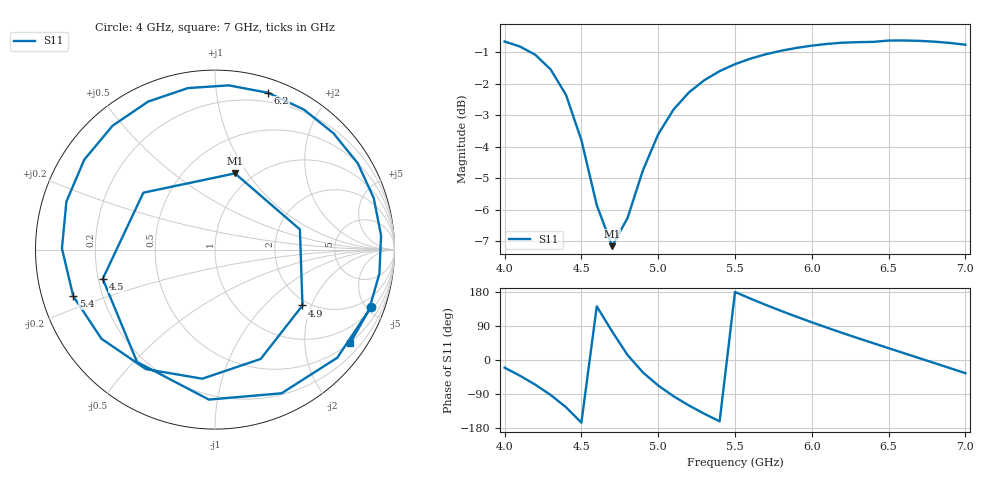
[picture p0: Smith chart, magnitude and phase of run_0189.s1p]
! Touchstone file exported from HFSS 2024.2.0
!  File:  C:/Users/wsak9/Desktop/Sim Fast/Widenad Patch/WP_AI_V1_sweep.aedt
!  Generated:  10:49:48 PM Oct 13, 2026
!  Design:  A1_model
!  Project:  WP_AI_V1_sweep
!  Setup:  Setup1
!  Solution:  Sweep
! Variables:
!  Air_gap = 3.75mm
!  Curve_Amp1 = 1.24
!  Curve_len1 = 1
!  Curve_pos = 12.245mm
!  Extra = 3.27mm
!  H_sub = 0.79mm
!  L_Patch = 20.49mm
!  L_Patch1 = 11.95mm
!  Sx = 2.06mm
!  Sy = 4.48mm
!  WS = 1.28mm
!  W_Patch = 22.26mm
!  W_Patch1 = 8.68mm
!Data is not renormalized
# GHz S MA
! Terminal data exported
! Port[1] = 1
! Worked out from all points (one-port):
!   31 points, 4 GHz to 7 GHz, reference per port
!   lowest |S11| = -7.2 dB at 4.7 GHz (marker M1), VSWR 2.56
!   |S11| at or under -10 dB: nowhere
!   S11 on the Smith chart (normalised r, x): 4 GHz: 1.18, -5.34; 4.5 GHz: 0.22, -0.12; 4.9 GHz: 1.85, -1.73; 5.4 GHz: 0.09, -0.16; 6.2 GHz: 0.12, +1.39; 7 GHz: 0.48, -3.12
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4  0.9263 -20.3
4.1  0.9094 -41.5
4.2  0.8824 -65.1
4.3  0.8364 -92.3
4.4  0.7621 -124.7
4.5  0.6462 -165.4
4.6  0.5098 141.5
4.7  0.4388 75.3
4.8  0.4862 13.4
4.9  0.5783 -32.6
5  0.6603 -67.3
5.1  0.7227 -95.6
5.2  0.7692 -120.0
5.3  0.8043 -141.8
5.4  0.8314 -161.8
5.5  0.8528 179.6
5.6  0.8701 162.1
5.7  0.8841 145.4
5.8  0.8956 129.6
5.9  0.9049 114.3
6  0.9124 99.5
6.1  0.9182 85.2
6.2  0.9223 71.3
6.3  0.9241 57.6
6.5  0.9295 31.2
6.7  0.9285 4.9
6.8  0.9257 -8.3
7  0.9155 -34.8
